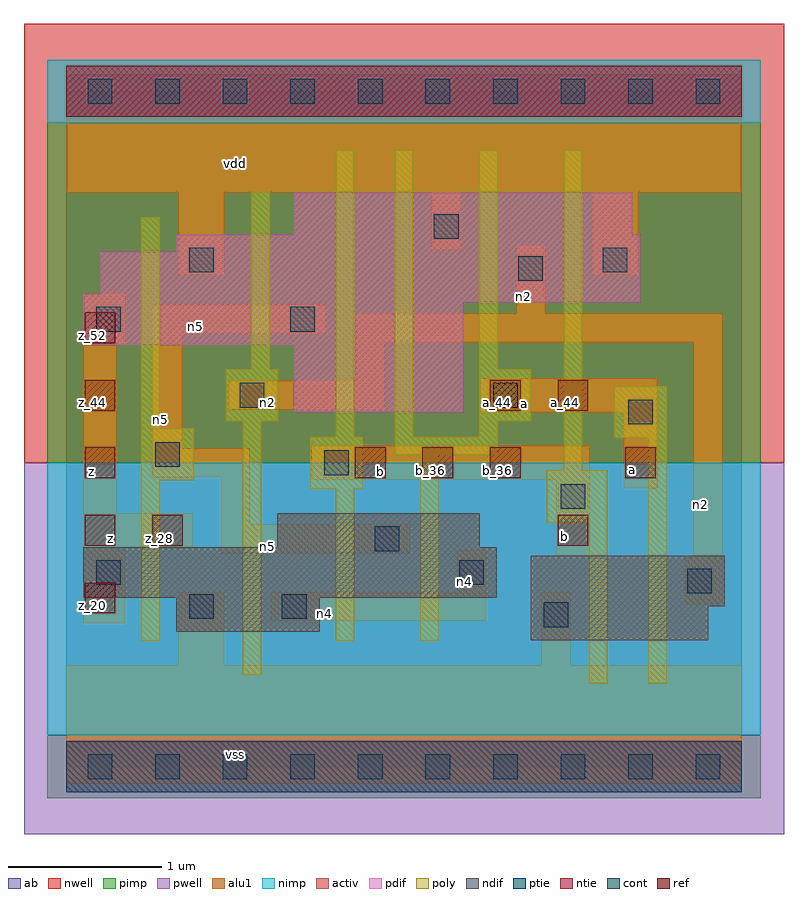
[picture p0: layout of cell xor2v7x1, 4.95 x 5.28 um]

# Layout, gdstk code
import gdstk
lib = gdstk.Library(unit=1e-6, precision=2.5e-09)
def R(c, l, rs):  # rectangles x0, y0, x1, y1
    for r in rs: c.add(gdstk.rectangle(r[:2], r[2:], *l))
def A(c, l, x, y, w, h, nx, ny, dx, dy):  # array of equal rectangles
    R(c, l, [(x+i*dx, y+j*dy, x+i*dx+w, y+j*dy+h) for i in range(nx) for j in range(ny)])
ndif = (3, 0)
pdif = (4, 0)
ntie = (5, 0)
ptie = (6, 0)
ref = (24, 0)
cont = (25, 0)
pwell = (41, 0)
nwell = (42, 0)
activ = (43, 0)
pimp = (44, 0)
nimp = (45, 0)
poly = (46, 0)
alu1 = (49, 0)
ab = (63, 0)

xor2v7x1 = lib.new_cell('xor2v7x1')
R(xor2v7x1, ndif, [(3.025,0.825,4.18,1.045), (0.715,0.88,1.65,1.1), (3.025,1.045,4.29,1.375), (0.11,1.1,2.805,1.43), (1.375,1.43,2.695,1.65)])
R(xor2v7x1, pdif, [(1.485,2.31,2.585,2.75), (0.11,2.75,2.585,3.025), (0.11,3.025,3.74,3.08), (0.22,3.08,3.74,3.355), (0.715,3.355,3.74,3.465), (1.485,3.465,3.685,3.74)])
R(xor2v7x1, ntie, [(0,4.235,4.4,4.565)])
R(xor2v7x1, ptie, [(0,-0.165,4.4,0.165)])
A(xor2v7x1, ref, 0.12, 1, 0.2, 0.2, 1, 5, 0, 0.44)
A(xor2v7x1, ref, 1.88, 1.88, 0.2, 0.2, 3, 1, 0.44, 0)
R(xor2v7x1, ref, [(0.56,1.44,0.76,1.64), (3.2,1.44,3.4,1.64), (3.64,1.88,3.84,2.08), (2.76,2.32,2.96,2.52), (3.2,2.32,3.4,2.52)])
A(xor2v7x1, cont, 0.14, -0.08, 0.16, 0.16, 10, 2, 0.44, 4.4)
R(xor2v7x1, cont, [(3.11,0.91,3.27,1.07), (0.8,0.965,0.96,1.125), (1.405,0.965,1.565,1.125), (4.045,1.13,4.205,1.29), (0.195,1.185,0.355,1.345), (2.56,1.185,2.72,1.345), (2.01,1.405,2.17,1.565), (3.22,1.68,3.38,1.84), (1.68,1.9,1.84,2.06), (0.58,1.955,0.74,2.115), (3.66,2.23,3.82,2.39), (1.13,2.34,1.29,2.5), (2.78,2.34,2.94,2.5), (0.195,2.835,0.355,2.995), (1.46,2.835,1.62,2.995), (2.945,3.165,3.105,3.325), (0.8,3.22,0.96,3.38), (3.495,3.22,3.655,3.38), (2.395,3.44,2.555,3.6)])
R(xor2v7x1, pwell, [(-0.275,-0.44,4.675,1.98)])
R(xor2v7x1, nwell, [(-0.275,1.98,4.675,4.84)])
R(xor2v7x1, activ, [(0,-0.165,4.4,0.165), (3.025,0.825,4.18,1.045), (0.715,0.88,1.65,1.1), (3.025,1.045,4.29,1.375), (0.11,1.1,2.805,1.43), (1.375,1.43,2.695,1.65), (1.485,2.31,2.585,2.75), (0.11,2.75,2.585,3.025), (0.11,3.025,3.74,3.08), (0.22,3.08,3.74,3.355), (0.715,3.355,3.74,3.465), (1.485,3.465,3.685,3.74), (0,4.235,4.4,4.565)])
R(xor2v7x1, pimp, [(-0.125,-0.205,4.525,0.205), (-0.125,1.98,4.525,4.195)])
R(xor2v7x1, nimp, [(-0.125,0.205,4.525,1.98), (-0.125,4.195,4.525,4.605)])
R(xor2v7x1, poly, [(3.405,0.545,3.525,1.59), (3.79,0.545,3.91,2.14), (1.15,0.6,1.27,2.25), (0.49,0.82,0.61,1.865), (1.755,0.82,1.875,1.81), (2.305,0.82,2.425,2.03), (3.13,1.59,3.525,1.93), (1.59,1.81,1.93,2.15), (0.49,1.865,0.83,2.205), (3.24,1.93,3.36,4.02), (2.14,2.03,2.81,2.15), (3.57,2.14,3.91,2.48), (1.755,2.15,1.875,4.02), (2.14,2.15,2.26,4.02), (2.69,2.15,2.81,2.25), (0.49,2.205,0.61,3.58), (1.04,2.25,1.38,2.59), (2.69,2.25,3.03,2.59), (1.205,2.59,1.325,3.745), (2.69,2.59,2.81,4.02)])
R(xor2v7x1, alu1, [(0,-0.11,4.4,0.66), (0.73,0.66,1.03,1.14), (3.095,0.66,3.285,1.14), (0.11,0.935,0.385,1.43), (1.335,0.95,2.735,1.14), (4.03,1.06,4.275,1.36), (2.545,1.14,2.735,1.415), (4.085,1.36,4.275,2.765), (3.19,1.375,3.41,1.87), (1.005,1.39,2.24,1.58), (0.11,1.43,0.825,1.65), (1.005,1.58,1.195,1.885), (0.11,1.65,0.33,2.75), (3.63,1.815,3.85,2.31), (1.595,1.87,3.41,2.09), (0.565,1.885,1.195,2.075), (0.565,2.075,0.755,2.82), (2.695,2.31,3.85,2.53), (1.06,2.325,2.075,2.515), (1.885,2.515,2.075,2.765), (0.11,2.75,0.385,3.08), (1.885,2.765,4.275,2.955), (0.565,2.82,1.69,3.01), (2.93,2.955,3.12,3.395), (0.73,3.205,1.03,3.74), (3.425,3.205,3.725,3.74), (2.38,3.37,2.57,3.74), (0,3.74,4.4,4.51)])
R(xor2v7x1, ab, [(0,0,4.4,4.4)])
xor2v7x1.add(gdstk.Label('vss', (1.1,0.0825), layer=49, texttype=0))
xor2v7x1.add(gdstk.Label('n4', (1.685,0.9975), layer=49, texttype=0))
xor2v7x1.add(gdstk.Label('n2', (4.1325,1.71), layer=49, texttype=0))
xor2v7x1.add(gdstk.Label('a', (3.685,1.9375), layer=49, texttype=0))
xor2v7x1.add(gdstk.Label('b', (3.245,1.4975), layer=49, texttype=0))
xor2v7x1.add(gdstk.Label('n4', (2.5925,1.2075), layer=49, texttype=0))
xor2v7x1.add(gdstk.Label('n5', (1.3125,1.4375), layer=49, texttype=0))
xor2v7x1.add(gdstk.Label('b', (2.0475,1.925), layer=49, texttype=0))
xor2v7x1.add(gdstk.Label('z', (0.2875,1.485), layer=49, texttype=0))
xor2v7x1.add(gdstk.Label('a', (2.9825,2.365), layer=49, texttype=0))
xor2v7x1.add(gdstk.Label('n2', (1.3125,2.3725), layer=49, texttype=0))
xor2v7x1.add(gdstk.Label('n5', (0.6125,2.26), layer=49, texttype=0))
xor2v7x1.add(gdstk.Label('z', (0.165,1.925), layer=49, texttype=0))
xor2v7x1.add(gdstk.Label('n2', (2.9775,3.065), layer=49, texttype=0))
xor2v7x1.add(gdstk.Label('n5', (0.845,2.8675), layer=49, texttype=0))
xor2v7x1.add(gdstk.Label('vdd', (1.1,3.9325), layer=49, texttype=0))
xor2v7x1.add(gdstk.Label('z_28', (0.61,1.49), layer=24, texttype=0))
xor2v7x1.add(gdstk.Label('b_36', (1.93,1.93), layer=24, texttype=0))
xor2v7x1.add(gdstk.Label('z_20', (0.17,1.05), layer=24, texttype=0))
xor2v7x1.add(gdstk.Label('z_28', (0.17,1.49), layer=24, texttype=0))
xor2v7x1.add(gdstk.Label('z_36', (0.17,1.93), layer=24, texttype=0))
xor2v7x1.add(gdstk.Label('z_44', (0.17,2.37), layer=24, texttype=0))
xor2v7x1.add(gdstk.Label('z_52', (0.17,2.81), layer=24, texttype=0))
xor2v7x1.add(gdstk.Label('b_36', (2.37,1.93), layer=24, texttype=0))
xor2v7x1.add(gdstk.Label('b_36', (2.81,1.93), layer=24, texttype=0))
xor2v7x1.add(gdstk.Label('a_44', (2.81,2.37), layer=24, texttype=0))
xor2v7x1.add(gdstk.Label('b_28', (3.25,1.49), layer=24, texttype=0))
xor2v7x1.add(gdstk.Label('a_44', (3.25,2.37), layer=24, texttype=0))
xor2v7x1.add(gdstk.Label('a_36', (3.69,1.93), layer=24, texttype=0))

lib.write_gds('xor2v7x1.gds')
